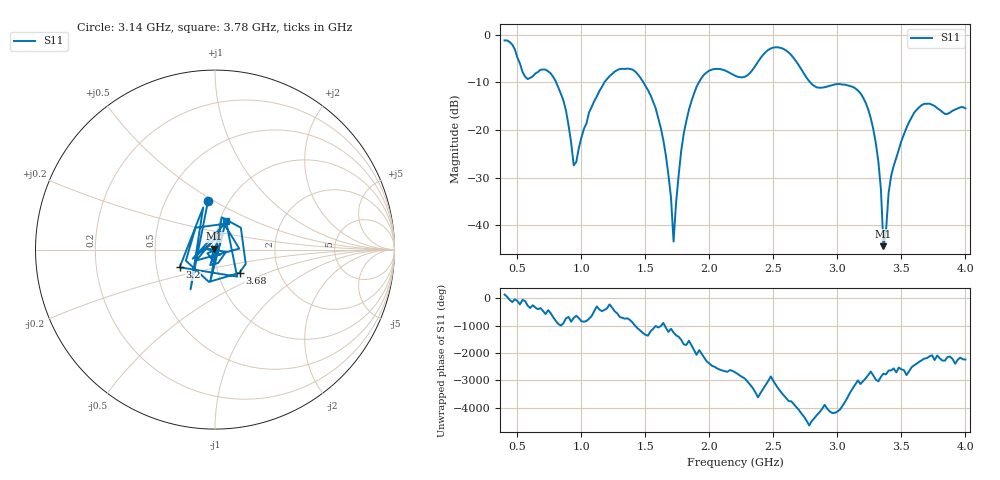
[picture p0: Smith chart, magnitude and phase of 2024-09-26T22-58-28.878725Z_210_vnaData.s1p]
!Created with skrf (http://scikit-rf.org).
# Hz S RI R 50.0
!freq ReS11 ImS11
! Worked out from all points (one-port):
!   181 points, 400 MHz to 4 GHz, reference 50 ohm
!   lowest |S11| = -44.4 dB at 3.36 GHz (marker M1), VSWR 1.01, Z = 49.6 + j0.48 ohm
!   |S11| at or under -10 dB: 802.7 MHz to 1.179 GHz (376.5 MHz wide, 38 % of centre); 1.484 GHz to 1.918 GHz (434.2 MHz wide, 25.5 % of centre); 2.788 GHz to end of sweep
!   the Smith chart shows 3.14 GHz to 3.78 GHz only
!   S11 on the Smith chart (normalised r, x): 3.14 GHz: 0.80, +0.47; 3.2 GHz: 0.66, -0.14; 3.68 GHz: 1.27, -0.34; 3.78 GHz: 1.07, +0.35
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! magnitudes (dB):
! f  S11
! 400 MHz  -1.2
! 560 MHz  -8.8
! 720 MHz  -7.3
! 860 MHz  -13.9
! 940 MHz  -27.4
! 1.1 GHz  -13.9
! 1.3 GHz  -7.2
! 1.58 GHz  -15.4
! 1.66 GHz  -25.4
! 1.7 GHz  -34.2
! 1.72 GHz  -43.4
! 1.76 GHz  -29.4
! 1.82 GHz  -18.1
! 1.92 GHz  -9.9
! 2.2 GHz  -8.6
! 2.5 GHz  -2.7
! 2.66 GHz  -5.0
! 2.84 GHz  -11.1
! 3.1 GHz  -10.8
! 3.14 GHz  -11.3
! 3.2 GHz  -13.1
! 3.32 GHz  -26.6
! 3.36 GHz  -44.4
! 3.42 GHz  -29.6
! 3.56 GHz  -18.4
! 3.68 GHz  -14.5
! 3.78 GHz  -15.4
! 4 GHz  -15.5
